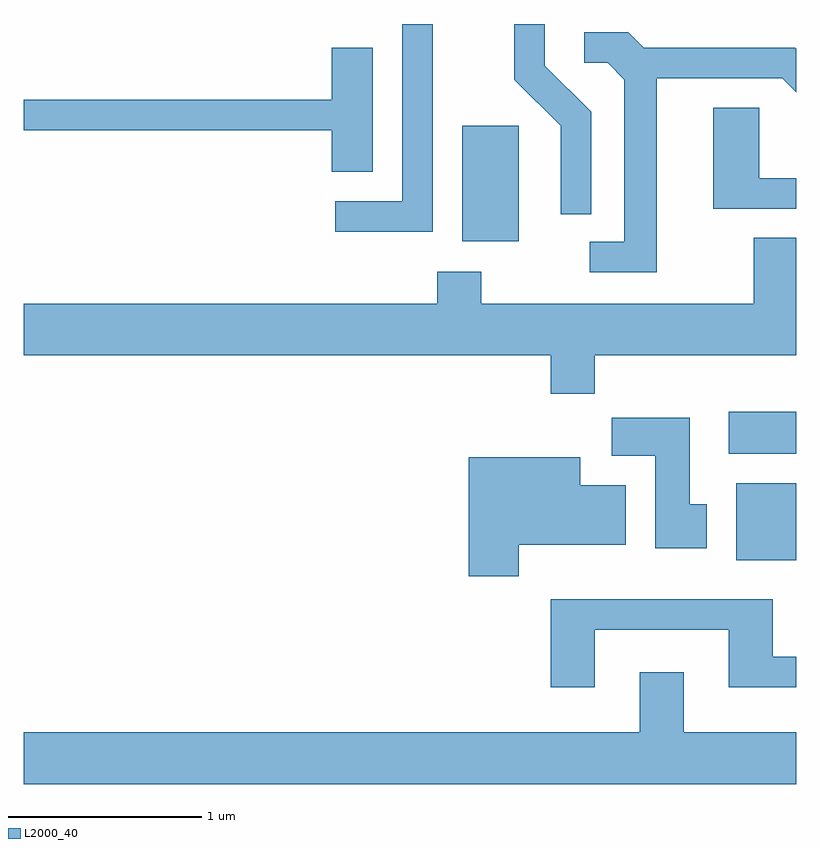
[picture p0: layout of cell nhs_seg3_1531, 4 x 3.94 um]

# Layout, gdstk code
import gdstk
lib = gdstk.Library(unit=1e-6, precision=1e-09)
def R(c, l, rs):  # rectangles x0, y0, x1, y1
    for r in rs: c.add(gdstk.rectangle(r[:2], r[2:], *l))
def P(c, l, *ps):  # polygons
    for p in ps: c.add(gdstk.Polygon(p, *l))
L2000_40 = (2000, 40)

nhs_seg3_1531 = lib.new_cell('nhs_seg3_1531')
R(nhs_seg3_1531, L2000_40, [(233.301,1187.116,233.611,1187.514), (233.261,1187.666,233.611,1187.884), (231.881,1188.766,232.174,1189.364)])
P(nhs_seg3_1531, L2000_40, [(231.729,1189.892),(231.571,1189.892),(231.571,1188.974),(231.223,1188.974),(231.223,1188.816),(231.729,1188.816)],
  [(232.549,1189.437),(232.309,1189.677),(232.309,1189.892),(232.151,1189.892),(232.151,1189.604),(232.391,1189.364),(232.391,1188.908),(232.549,1188.908)],
  [(232.889,1189.611),(233.539,1189.611),(233.611,1189.539),(233.611,1189.765),(233.607,1189.769),(232.822,1189.769),(232.742,1189.849),(232.513,1189.849),(232.513,1189.691),(232.634,1189.691),(232.721,1189.604),(232.721,1188.764),(232.543,1188.764),(232.543,1188.606),(232.889,1188.606)],
  [(231.419,1189.769),(231.206,1189.769),(231.206,1189.499),(229.611,1189.499),(229.611,1189.341),(231.206,1189.341),(231.206,1189.126),(231.419,1189.126)],
  [(233.611,1189.094),(233.419,1189.094),(233.419,1189.459),(233.181,1189.459),(233.181,1188.936),(233.611,1188.936)],
  [(233.611,1188.784),(233.391,1188.784),(233.391,1188.444),(231.979,1188.444),(231.979,1188.609),(231.751,1188.609),(231.751,1188.444),(229.611,1188.444),(229.611,1188.176),(232.341,1188.176),(232.341,1187.976),(232.569,1187.976),(232.569,1188.176),(233.611,1188.176)],
  [(233.149,1187.404),(233.059,1187.404),(233.059,1187.854),(232.656,1187.854),(232.656,1187.656),(232.881,1187.656),(232.881,1187.176),(233.149,1187.176)],
  [(232.174,1187.196),(232.729,1187.196),(232.729,1187.504),(232.494,1187.504),(232.494,1187.649),(231.916,1187.649),(231.916,1187.031),(232.174,1187.031)],
  [(232.569,1186.756),(233.261,1186.756),(233.261,1186.456),(233.611,1186.456),(233.611,1186.614),(233.489,1186.614),(233.489,1186.914),(232.341,1186.914),(232.341,1186.456),(232.569,1186.456)],
  [(233.611,1186.224),(233.029,1186.224),(233.029,1186.534),(232.801,1186.534),(232.801,1186.224),(229.611,1186.224),(229.611,1185.956),(233.611,1185.956)])

lib.write_gds('nhs_seg3_1531.gds')
